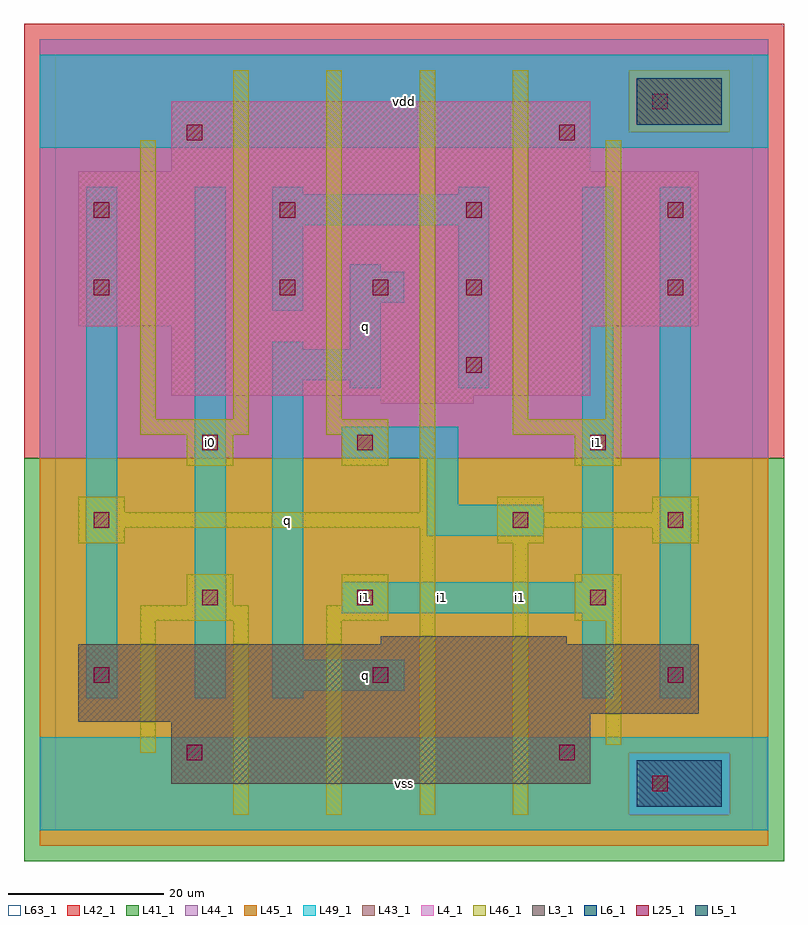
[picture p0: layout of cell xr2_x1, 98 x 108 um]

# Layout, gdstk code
import gdstk
lib = gdstk.Library(unit=1e-6, precision=1e-09)
def R(c, l, rs):  # rectangles x0, y0, x1, y1
    for r in rs: c.add(gdstk.rectangle(r[:2], r[2:], *l))
def A(c, l, x, y, w, h, nx, ny, dx, dy):  # array of equal rectangles
    R(c, l, [(x+i*dx, y+j*dy, x+i*dx+w, y+j*dy+h) for i in range(nx) for j in range(ny)])
L3_1 = (3, 1)
L4_1 = (4, 1)
L5_1 = (5, 1)
L6_1 = (6, 1)
L25_1 = (25, 1)
L41_1 = (41, 1)
L42_1 = (42, 1)
L43_1 = (43, 1)
L44_1 = (44, 1)
L45_1 = (45, 1)
L46_1 = (46, 1)
L49_1 = (49, 1)
L63_1 = (63, 1)

xr2_x1 = lib.new_cell('xr2_x1')
R(xr2_x1, L3_1, [(15,6,69,14), (3,14,69,15), (3,15,83,24), (42,24,66,25)])
R(xr2_x1, L4_1, [(42,55,54,56), (15,56,69,65), (3,65,83,85), (15,85,69,94)])
R(xr2_x1, L5_1, [(75,91,86,97)])
R(xr2_x1, L6_1, [(75,3,86,9), (75,3,86,9)])
A(xr2_x1, L25_1, 29, 69, 2, 2, 3, 1, 12, 0)
A(xr2_x1, L25_1, 5, 79, 2, 2, 3, 1, 24, 0)
R(xr2_x1, L25_1, [(77,5,79,7), (17,9,19,11), (65,9,67,11), (5,19,7,21), (41,19,43,21), (79,19,81,21), (19,29,21,31), (39,29,41,31), (69,29,71,31), (5,39,7,41), (59,39,61,41), (79,39,81,41), (19,49,21,51), (39,49,41,51), (69,49,71,51), (53,59,55,61), (5,69,7,71), (79,69,81,71), (79,79,81,81), (17,89,19,91), (65,89,67,91), (77,93,79,95)])
R(xr2_x1, L41_1, [(-4,-4,94,48)])
R(xr2_x1, L42_1, [(-4,48,94,104)])
R(xr2_x1, L43_1, [(75,3,86,9), (15,6,69,14), (3,14,69,15), (3,15,83,24), (42,24,66,25), (42,55,54,56), (15,56,69,65), (3,65,83,85), (15,85,69,94), (75,91,86,97)])
R(xr2_x1, L44_1, [(74,2,87,10), (-2,48,92,90), (-2,90,74,98), (87,90,92,98), (-2,98,92,102)])
R(xr2_x1, L45_1, [(-2,-2,92,2), (-2,2,74,10), (87,2,92,10), (-2,10,92,48), (74,90,87,98)])
R(xr2_x1, L46_1, [(23,2,25,27), (35,2,37,27), (47,2,49,39), (59,2,61,37), (11,10,13,27), (71,11,73,27), (11,27,25,29), (35,27,43,29), (67,27,73,33), (17,29,23,33), (37,29,43,33), (3,37,9,39), (57,37,63,39), (77,37,83,39), (3,39,49,41), (57,39,83,41), (3,41,9,43), (47,41,49,98), (57,41,63,43), (77,41,83,43), (17,47,23,51), (37,47,43,51), (67,47,73,51), (11,51,25,53), (35,51,43,53), (59,51,73,53), (11,53,13,89), (23,53,25,98), (35,53,37,98), (59,53,61,98), (71,53,73,89)])
R(xr2_x1, L49_1, [(-2,0,92,12), (4,17,8,83), (18,17,22,83), (28,17,32,18), (68,17,72,28), (78,17,82,83), (28,18,45,22), (28,22,32,58), (37,28,72,32), (68,32,72,83), (48,38,63,42), (48,42,52,48), (37,48,52,52), (38,57,42,58), (52,57,56,78), (28,58,42,62), (28,62,32,63), (38,62,42,68), (28,67,32,78), (38,68,45,72), (38,72,42,73), (28,78,56,82), (28,82,32,83), (52,82,56,83), (-2,88,92,100)])
R(xr2_x1, L63_1, [(0,0,90,100)])
xr2_x1.add(gdstk.Label('q', (30,40), layer=49, texttype=1))
xr2_x1.add(gdstk.Label('i0', (20,50), layer=49, texttype=1))
xr2_x1.add(gdstk.Label('vss', (45,6), layer=49, texttype=1))
xr2_x1.add(gdstk.Label('q', (40,20), layer=49, texttype=1))
xr2_x1.add(gdstk.Label('i1', (50,30), layer=49, texttype=1))
xr2_x1.add(gdstk.Label('i1', (40,30), layer=49, texttype=1))
xr2_x1.add(gdstk.Label('q', (40,65), layer=49, texttype=1))
xr2_x1.add(gdstk.Label('vdd', (45,94), layer=49, texttype=1))
xr2_x1.add(gdstk.Label('i1', (60,30), layer=49, texttype=1))
xr2_x1.add(gdstk.Label('i1', (70,50), layer=49, texttype=1))

lib.write_gds('xr2_x1.gds')
